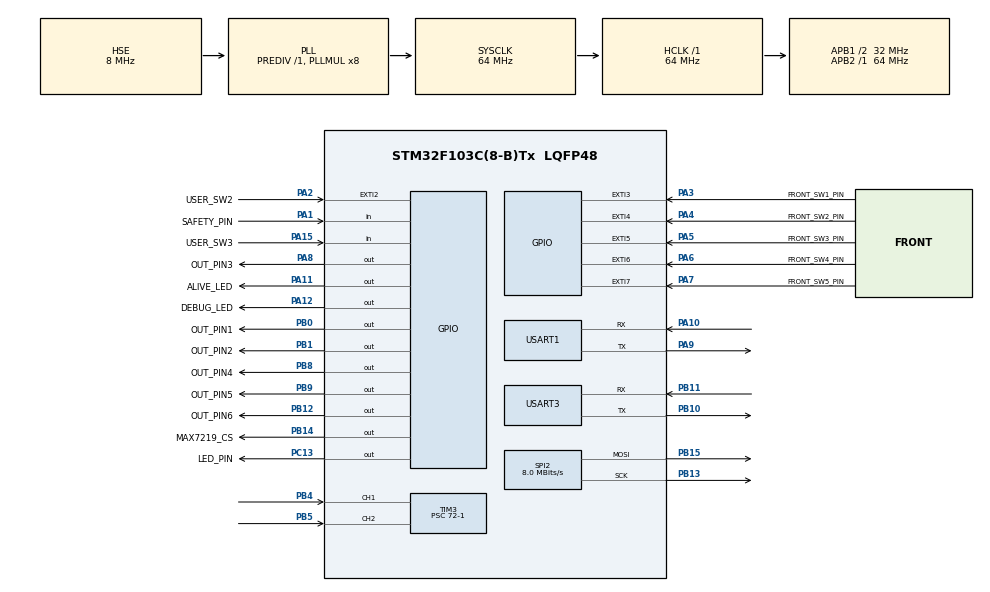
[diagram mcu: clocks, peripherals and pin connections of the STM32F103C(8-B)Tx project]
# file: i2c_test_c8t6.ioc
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IWDG.Prescaler=IWDG_PRESCALER_16
IWDG.Reload=3999
Mcu.Family=STM32F1
Mcu.Name=STM32F103C(8-B)Tx
Mcu.Package=LQFP48
NVIC.EXTI2_IRQn=true\:5\:0\:true\:false\:true\:true\:true
NVIC.EXTI3_IRQn=true\:5\:0\:true\:false\:true\:true\:true
NVIC.EXTI4_IRQn=true\:5\:0\:true\:false\:true\:true\:true
NVIC.EXTI9_5_IRQn=true\:5\:0\:true\:false\:true\:true\:true
NVIC.PriorityGroup=NVIC_PRIORITYGROUP_4
NVIC.TIM1_UP_IRQn=true\:3\:0\:true\:false\:true\:true\:true
NVIC.TIM2_IRQn=true\:4\:0\:true\:false\:true\:true\:true
NVIC.TIM3_IRQn=true\:1\:0\:true\:false\:true\:true\:true
NVIC.TIM4_IRQn=true\:3\:0\:true\:false\:true\:true\:true
PA1.GPIO_Label=SAFETY_PIN
PA1.Signal=GPIO_Input
PA10.Mode=Asynchronous
PA10.Signal=USART1_RX
PA11.GPIO_Label=ALIVE_LED
PA11.Signal=GPIO_Output
PA12.GPIO_Label=DEBUG_LED
PA12.Signal=GPIO_Output
PA13.Mode=Serial_Wire
PA13.Signal=SYS_JTMS-SWDIO
PA14.Mode=Serial_Wire
PA14.Signal=SYS_JTCK-SWCLK
PA15.GPIO_Label=USER_SW3
PA15.GPIO_PuPd=GPIO_PULLDOWN
PA15.Signal=GPIO_Input
PA2.GPIO_Label=USER_SW2
PA2.GPIO_PuPd=GPIO_PULLDOWN
PA2.Signal=GPXTI2
PA3.GPIO_Label=FRONT_SW1_PIN
PA3.GPIO_PuPd=GPIO_PULLDOWN
PA3.Signal=GPXTI3
PA4.GPIO_Label=FRONT_SW2_PIN
PA4.GPIO_PuPd=GPIO_PULLDOWN
PA4.Signal=GPXTI4
PA5.GPIO_Label=FRONT_SW3_PIN
PA5.GPIO_PuPd=GPIO_PULLDOWN
PA5.Signal=GPXTI5
PA6.GPIO_Label=FRONT_SW4_PIN
PA6.GPIO_PuPd=GPIO_PULLDOWN
PA6.Signal=GPXTI6
PA7.GPIO_Label=FRONT_SW5_PIN
PA7.GPIO_PuPd=GPIO_PULLDOWN
PA7.Signal=GPXTI7
PA8.GPIO_Label=OUT_PIN3
PA8.GPIO_PuPd=GPIO_PULLDOWN
PA8.Signal=GPIO_Output
PA9.Mode=Asynchronous
PA9.Signal=USART1_TX
PB0.GPIO_Label=OUT_PIN1
PB0.GPIO_PuPd=GPIO_PULLDOWN
PB0.Signal=GPIO_Output
PB1.GPIO_Label=OUT_PIN2
PB1.GPIO_PuPd=GPIO_PULLDOWN
PB1.Signal=GPIO_Output
PB10.Mode=Asynchronous
PB10.Signal=USART3_TX
PB11.Mode=Asynchronous
PB11.Signal=USART3_RX
PB12.GPIO_Label=OUT_PIN6
PB12.GPIO_PuPd=GPIO_PULLDOWN
PB12.Signal=GPIO_Output
PB13.Mode=TX_Only_Simplex_Unidirect_Master
PB13.Signal=SPI2_SCK
PB14.GPIO_Label=MAX7219_CS
PB14.GPIO_PuPd=GPIO_PULLDOWN
PB14.GPIO_Speed=GPIO_SPEED_FREQ_HIGH
PB14.Signal=GPIO_Output
PB15.Mode=TX_Only_Simplex_Unidirect_Master
PB15.Signal=SPI2_MOSI
PB4.GPIO_PuPd=GPIO_PULLDOWN
PB4.Signal=S_TIM3_CH1
PB5.GPIO_PuPd=GPIO_PULLDOWN
PB5.Signal=S_TIM3_CH2
PB8.GPIO_Label=OUT_PIN4
PB8.GPIO_PuPd=GPIO_PULLDOWN
PB8.Signal=GPIO_Output
PB9.GPIO_Label=OUT_PIN5
PB9.GPIO_PuPd=GPIO_PULLDOWN
PB9.Signal=GPIO_Output
PC13-TAMPER-RTC.GPIO_Label=LED_PIN
PC13-TAMPER-RTC.GPIO_Speed=GPIO_SPEED_FREQ_MEDIUM
PC13-TAMPER-RTC.Signal=GPIO_Output
PC14-OSC32_IN.Mode=LSE-External-Oscillator
PC14-OSC32_IN.Signal=RCC_OSC32_IN
PC15-OSC32_OUT.Mode=LSE-External-Oscillator
PC15-OSC32_OUT.Signal=RCC_OSC32_OUT
PD0-OSC_IN.Mode=HSE-External-Oscillator
PD0-OSC_IN.Signal=RCC_OSC_IN
PD1-OSC_OUT.Mode=HSE-External-Oscillator
PD1-OSC_OUT.Signal=RCC_OSC_OUT
ProjectManager.HeapSize=0x200
ProjectManager.StackSize=0x400
ProjectManager.TargetToolchain=STM32CubeIDE
RCC.AHBFreq_Value=64000000
RCC.APB1CLKDivider=RCC_HCLK_DIV2
RCC.APB1Freq_Value=32000000
RCC.APB1TimFreq_Value=64000000
RCC.APB2Freq_Value=64000000
RCC.APB2TimFreq_Value=64000000
RCC.HCLKFreq_Value=64000000
RCC.PLLMUL=RCC_PLL_MUL8
RCC.PLLSourceVirtual=RCC_PLLSOURCE_HSE
RCC.SYSCLKFreq_VALUE=64000000
RCC.SYSCLKSource=RCC_SYSCLKSOURCE_PLLCLK
RCC.USBFreq_Value=64000000
RTC.OutPut=RTC_OUTPUTSOURCE_ALARM
SH.S_TIM3_CH1.0=TIM3_CH1,Input_Capture1_from_TI1
SH.S_TIM3_CH2.0=TIM3_CH2,Input_Capture2_from_TI2
SPI2.BaudRatePrescaler=SPI_BAUDRATEPRESCALER_4
SPI2.CalculateBaudRate=8.0 MBits/s
SPI2.Direction=SPI_DIRECTION_2LINES
SPI2.Mode=SPI_MODE_MASTER
SPI2.VirtualType=VM_MASTER
TIM1.AutoReloadPreload=TIM_AUTORELOAD_PRELOAD_DISABLE
TIM1.Period=63999
TIM1.Prescaler=699
TIM2.AutoReloadPreload=TIM_AUTORELOAD_PRELOAD_DISABLE
TIM2.Period=63999
TIM2.Prescaler=99
TIM3.AutoReloadPreload=TIM_AUTORELOAD_PRELOAD_DISABLE
TIM3.Channel-Input_Capture1_from_TI1=TIM_CHANNEL_1
TIM3.Channel-Input_Capture2_from_TI2=TIM_CHANNEL_2
TIM3.ICFilter_CH1=5
TIM3.ICFilter_CH2=5
TIM3.Period=0xffff-1
TIM3.Prescaler=72-1
TIM4.Period=63999
TIM4.Prescaler=1499
USART1.VirtualMode=VM_ASYNC
USART3.VirtualMode=VM_ASYNC
VP_IWDG_VS_IWDG.Mode=IWDG_Activate
VP_RTC_VS_RTC_Activate.Mode=RTC_Enabled
VP_RTC_VS_RTC_Calendar.Mode=RTC_Calendar
VP_TIM1_VS_ClockSourceINT.Mode=Internal
VP_TIM2_VS_ClockSourceINT.Mode=Internal
VP_TIM3_VS_ClockSourceINT.Mode=Internal
VP_TIM4_VS_ClockSourceINT.Mode=Internal
board=custom

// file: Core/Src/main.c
/* USER CODE BEGIN Header */
/**
 ******************************************************************************
 * @file           : main.c
 * @brief          : Main program body
 ******************************************************************************
 * @attention
 *
 * <h2><center>&copy; Copyright (c) 2020 STMicroelectronics.
 * All rights reserved.</center></h2>
 *
 * This software component is licensed by ST under BSD 3-Clause license,
 * the "License"; You may not use this file except in compliance with the
 * License. You may obtain a copy of the License at:
 *                        opensource.org/licenses/BSD-3-Clause
 *
 ******************************************************************************
 */
/* USER CODE END Header */
#include "main.h"
#include "iwdg.h"
#include "rtc.h"
#include "spi.h"
#include "tim.h"
#include "usart.h"
#include "gpio.h"

/* USER CODE BEGIN Includes */
#include <stdio.h>
#include <string.h>
#include <stdbool.h>
#include <math.h>
#include <max7219.h>
/* USER CODE END Includes */

/* USER CODE BEGIN PD */
#define EEPROM_ADDR 0xA0
#define DEBUG false
/* USER CODE END PD */

void SystemClock_Config(void);
/* USER CODE BEGIN PFP */
void read_settings_from_eeprom(void);
void logic_runner(void);
void stop_and_clear_tim1(void);
void serial_display_credit(void);
void set_add_duration_of_function(uint8_t _selected_menu);
void set_substract_duration_of_function(uint8_t _selected_menu);
void segment_display_off(void);
void enable_all_exti_it(void);
void disable_all_exti_it(void);
void iot_send_inserted_credit(uint16_t inst_credit);
void iot_send_mode(uint8_t mode);
void iot_send_status(void);
bool isButtonBusy(void);
uint8_t decodeSwithPin(uint16_t GPIO_Pin);
/* USER CODE END PFP */

/* USER CODE BEGIN 0 */
uint32_t DEV_ID=0;
uint32_t REV_ID=0;
volatile uint32_t IC_Val1 = 0;
volatile uint32_t IC_Val2 = 0;
volatile uint32_t Difference = 0;
volatile uint8_t Is_First_Captured = 0;  // is the first value captured ?
uint8_t default_credit_duration = 10;
volatile uint32_t coin_IC_Val1 = 0;
volatile uint32_t coin_IC_Val2 = 0;
volatile uint32_t coin_Difference = 0;
volatile uint8_t coin_Is_First_Captured = 0;  // is the first value captured ?
volatile uint8_t selected_menu = 0;

volatile uint32_t last_event_credit = 0;
volatile int credit = 0;
volatile uint8_t selected_button = 0;
volatile int logic_runner_round_counter = 0;
volatile int minimum_credit_to_start = 10;
volatile int duration_per_1credit = 5;
volatile bool front_btn_enable = false;
volatile bool system_function_start = false;
volatile bool displayEnable = true;
volatile bool displayToggle = true;
/// coin and bank note global

volatile uint8_t bank_acceptor_pulse_width = 33;
volatile uint8_t coin_acceptor_pulse_width = 40;
uint8_t creditPulseOffset = 15;

volatile uint8_t bank_credit_per_pulse = 10;
volatile uint8_t coin_credit_per_pulse = 1;
/// coin and bank note global var

/* duration settings */
volatile uint8_t F1_DURATION = 10;
volatile uint8_t F2_DURATION = 10;
volatile uint8_t F3_DURATION = 10;
volatile uint8_t F4_DURATION = 10;
volatile uint8_t F5_DURATION = 10;

volatile int8_t current_setting_value = 0;
volatile uint8_t selected_setting = 0;
volatile uint16_t TIM1_COUNTER = 0;
volatile uint32_t burst_bank_credit = 0;
volatile uint32_t burst_coin_credit = 0;
volatile uint32_t burst_counter = 0;
volatile uint32_t burst_counter_2 = 0;
volatile bool start_debounce_counter = false;
volatile bool start_debounce_counter2 = false;
volatile uint32_t lastTimePress = 0;
volatile uint32_t lastCoinTick = 0;
char dev_id_buffer[30];
uint16_t last_credit_insert = 0;
uint16_t last_credit_insert_bank = 0;
char newline[] = "\r\n";
volatile char buffer[10];

volatile uint8_t data_to_write = 14;
volatile char data_to_read[20];

volatile uint8_t data_read = 0;
volatile uint8_t standby_counter = 0;
volatile bool clearButton = false;
volatile uint8_t clearButtonCounter = 0;
volatile uint8_t tim2_round_counter = 0;
volatile uint8_t iot_round_counter = 0;
bool ignoreButtonBusy = false;
/* USER CODE END 0 */

int main(void)
{

	/* MCU Configuration--------------------------------------------------------*/

	/* Reset of all peripherals, Initializes the Flash interface and the Systick. */
	HAL_Init();

	/* Configure the system clock */
	SystemClock_Config();

	/* Initialize all configured peripherals */
	MX_GPIO_Init();
	MX_USART1_UART_Init();
	MX_TIM1_Init();
	MX_TIM2_Init();
	MX_TIM3_Init();
	MX_TIM4_Init();
	MX_SPI2_Init();
	MX_RTC_Init();
	MX_USART3_UART_Init();
	MX_IWDG_Init();
	/* USER CODE BEGIN 2 */
	HAL_Delay(100);
	read_settings_from_eeprom();
	HAL_Delay(100);
	HAL_TIM_Base_Stop_IT(&htim2);
	HAL_TIM_Base_Stop_IT(&htim4);
	HAL_TIM_Base_Stop_IT(&htim1);
	max7219_DisableDisplayTest();
	HAL_Delay(200);
	max7219_Init ( 5 );
	max7219_Decode_On ();
	HAL_TIM_IC_Start_IT(&htim3, TIM_CHANNEL_1);
	HAL_TIM_IC_Start_IT(&htim3, TIM_CHANNEL_2);
	HAL_TIM_Base_Start_IT(&htim2);
	__HAL_TIM_CLEAR_IT(&htim1, TIM_IT_UPDATE);
	__HAL_TIM_SET_COUNTER(&htim1, 0);
	DEV_ID =  HAL_GetDEVID();
	REV_ID = HAL_GetREVID();

	sprintf(dev_id_buffer, "$DVID%d-%d&\r\n",(int)DEV_ID,(int)REV_ID);
	HAL_UART_Transmit(&huart1, (uint8_t *)dev_id_buffer, strlen(dev_id_buffer), HAL_MAX_DELAY);
	if(HAL_GPIO_ReadPin(GPIOA, SAFETY_PIN_Pin) == 1){
		ignoreButtonBusy = true;
	}else{
		ignoreButtonBusy = false;
	}

	/* USER CODE END 2 */

	/* Infinite loop */
	while (1)
	{

		/* USER CODE BEGIN 3 */
		HAL_IWDG_Refresh(&hiwdg);
		HAL_Delay(1000);
		if(HAL_GPIO_ReadPin(GPIOA, GPIO_PIN_15)){
			credit = 0;
			system_function_start = false;
		}
		HAL_GPIO_TogglePin(GPIOA, ALIVE_LED_Pin);
	}
	/* USER CODE END 3 */
}

void SystemClock_Config(void)
{
	RCC_OscInitTypeDef RCC_OscInitStruct = {0};
	RCC_ClkInitTypeDef RCC_ClkInitStruct = {0};
	RCC_PeriphCLKInitTypeDef PeriphClkInit = {0};

	/** Initializes the RCC Oscillators according to the specified parameters
	 * in the RCC_OscInitTypeDef structure.
	 */
	RCC_OscInitStruct.OscillatorType = RCC_OSCILLATORTYPE_LSI|RCC_OSCILLATORTYPE_HSE;
	RCC_OscInitStruct.HSEState = RCC_HSE_ON;
	RCC_OscInitStruct.HSEPredivValue = RCC_HSE_PREDIV_DIV1;
	RCC_OscInitStruct.HSIState = RCC_HSI_ON;
	RCC_OscInitStruct.LSIState = RCC_LSI_ON;
	RCC_OscInitStruct.PLL.PLLState = RCC_PLL_ON;
	RCC_OscInitStruct.PLL.PLLSource = RCC_PLLSOURCE_HSE;
	RCC_OscInitStruct.PLL.PLLMUL = RCC_PLL_MUL8;
	if (HAL_RCC_OscConfig(&RCC_OscInitStruct) != HAL_OK)
	{
		Error_Handler();
	}
	/** Initializes the CPU, AHB and APB buses clocks
	 */
	RCC_ClkInitStruct.ClockType = RCC_CLOCKTYPE_HCLK|RCC_CLOCKTYPE_SYSCLK
			|RCC_CLOCKTYPE_PCLK1|RCC_CLOCKTYPE_PCLK2;
	RCC_ClkInitStruct.SYSCLKSource = RCC_SYSCLKSOURCE_PLLCLK;
	RCC_ClkInitStruct.AHBCLKDivider = RCC_SYSCLK_DIV1;
	RCC_ClkInitStruct.APB1CLKDivider = RCC_HCLK_DIV2;
	RCC_ClkInitStruct.APB2CLKDivider = RCC_HCLK_DIV1;

	if (HAL_RCC_ClockConfig(&RCC_ClkInitStruct, FLASH_LATENCY_2) != HAL_OK)
	{
		Error_Handler();
	}
	PeriphClkInit.PeriphClockSelection = RCC_PERIPHCLK_RTC;
	PeriphClkInit.RTCClockSelection = RCC_RTCCLKSOURCE_LSI;
	if (HAL_RCCEx_PeriphCLKConfig(&PeriphClkInit) != HAL_OK)
	{
		Error_Handler();
	}
}

/* USER CODE BEGIN 4 */
void read_settings_from_eeprom(void){
	F1_DURATION = HAL_RTCEx_BKUPRead(&hrtc, RTC_BKP_DR1);
	F2_DURATION = HAL_RTCEx_BKUPRead(&hrtc, RTC_BKP_DR2);
	F3_DURATION = HAL_RTCEx_BKUPRead(&hrtc, RTC_BKP_DR3);
	F4_DURATION = HAL_RTCEx_BKUPRead(&hrtc, RTC_BKP_DR4);
	F5_DURATION = HAL_RTCEx_BKUPRead(&hrtc, RTC_BKP_DR5);
	credit = HAL_RTCEx_BKUPRead(&hrtc, RTC_BKP_DR6);
	if(credit >= 2){
		system_function_start = true;
	}else{
		system_function_start = false;
		credit = 0;
	}
	char tmp_msg[35];
	sprintf(tmp_msg,"eeprom read DURATION 1 is %d \r\n",F1_DURATION);
	HAL_UART_Transmit(&huart1, (uint8_t *)tmp_msg, strlen(tmp_msg), HAL_MAX_DELAY);
	sprintf(tmp_msg,"eeprom read DURATION 2 is %d \r\n",F2_DURATION);
	HAL_UART_Transmit(&huart1, (uint8_t *)tmp_msg, strlen(tmp_msg), HAL_MAX_DELAY);
	sprintf(tmp_msg,"eeprom read DURATION 3 is %d \r\n",F3_DURATION);
	HAL_UART_Transmit(&huart1, (uint8_t *)tmp_msg, strlen(tmp_msg), HAL_MAX_DELAY);
	sprintf(tmp_msg,"eeprom read DURATION 4 is %d \r\n",F4_DURATION);
	HAL_UART_Transmit(&huart1, (uint8_t *)tmp_msg, strlen(tmp_msg), HAL_MAX_DELAY);
	sprintf(tmp_msg,"eeprom read DURATION 5 is %d \r\n",F5_DURATION);
	HAL_UART_Transmit(&huart1, (uint8_t *)tmp_msg, strlen(tmp_msg), HAL_MAX_DELAY);
	sprintf(tmp_msg,"eeprom read CREDIT is %d \r\n",(int)credit);
	HAL_UART_Transmit(&huart1, (uint8_t *)tmp_msg, strlen(tmp_msg), HAL_MAX_DELAY);

	if(F1_DURATION == 0 || F2_DURATION == 0 || F3_DURATION == 0 || F4_DURATION == 0 || F5_DURATION == 0){
		HAL_RTCEx_BKUPWrite(&hrtc, RTC_BKP_DR1, default_credit_duration);
		HAL_RTCEx_BKUPWrite(&hrtc, RTC_BKP_DR2, default_credit_duration);
		HAL_RTCEx_BKUPWrite(&hrtc, RTC_BKP_DR3, default_credit_duration);
		HAL_RTCEx_BKUPWrite(&hrtc, RTC_BKP_DR4, default_credit_duration);
		HAL_RTCEx_BKUPWrite(&hrtc, RTC_BKP_DR5, default_credit_duration);
		F1_DURATION = default_credit_duration;
		F2_DURATION = default_credit_duration;
		F3_DURATION = default_credit_duration;
		F4_DURATION = default_credit_duration;
		F5_DURATION = default_credit_duration;
	}
	HAL_Delay(300);
}
void reset_all_output(void){
	HAL_GPIO_WritePin(GPIOB, GPIO_PIN_0, GPIO_PIN_RESET); // pin b0 --> out 1
	HAL_GPIO_WritePin(GPIOB, GPIO_PIN_1, GPIO_PIN_RESET); // pin b1 --> out 2
	HAL_GPIO_WritePin(GPIOA, GPIO_PIN_8, GPIO_PIN_RESET); // pin a8 --> out 3
	HAL_GPIO_WritePin(GPIOB, GPIO_PIN_8, GPIO_PIN_RESET); // pin b8 --> out 4
	HAL_GPIO_WritePin(GPIOB, GPIO_PIN_9, GPIO_PIN_RESET); // pin b9 --> out 5
	HAL_GPIO_WritePin(GPIOB, GPIO_PIN_12, GPIO_PIN_RESET); // pin b12 --> out 6
}
void set_output_to(uint8_t pin){
	switch(pin){
	case 3:
		HAL_GPIO_WritePin(GPIOB, GPIO_PIN_0, GPIO_PIN_SET); // pin b0 --> out 1
		break;
	case 4:
		HAL_GPIO_WritePin(GPIOB, GPIO_PIN_1, GPIO_PIN_SET); // pin b1 --> out 2
		break;
	case 5:
		HAL_GPIO_WritePin(GPIOA, GPIO_PIN_8, GPIO_PIN_SET); // pin a8 --> out 3
		break;
	case 6:
		HAL_GPIO_WritePin(GPIOB, GPIO_PIN_8, GPIO_PIN_SET); // pin b8 --> out 4
		break;
	case 7:
		HAL_GPIO_WritePin(GPIOB, GPIO_PIN_9, GPIO_PIN_SET); // pin b9 --> out 5
		break;
	default:
		reset_all_output();
		max7219_Turn_On();
		break;
	}

}

void segment_display_int(int number){
	max7219_Turn_Off();
	max7219_Init(5);
	max7219_Clean ();
	max7219_Decode_On();
	max7219_Clean ();
	if(number < 10){
		max7219_PrintItos (DIGIT_1, number );
	}else if(number >= 10 && number < 100){
		max7219_PrintItos (DIGIT_2, number );
	}else{
		max7219_PrintItos (DIGIT_3, number );
	}
}
void segment_display_function_settings(int func_number,int value){
	max7219_Decode_On();
	max7219_Clean ();
	if(value < 10){
		max7219_PrintItos (DIGIT_1, value );
	}else if(value >= 10 && value < 100){
		max7219_PrintItos (DIGIT_2, value );
	}
	max7219_PrintDigit(DIGIT_3,func_number,true);
}
void segment_display_standby(){
	max7219_Clean ();
	max7219_Decode_On();
	max7219_Clean ();
	if(displayEnable == true){
		switch(standby_counter){
		case 0:
			max7219_PrintDigit(DIGIT_1,MINUS,false);
			max7219_PrintDigit(DIGIT_2,BLANK,false);
			max7219_PrintDigit(DIGIT_3,BLANK,false);
			break;
		case 1:
			max7219_PrintDigit(DIGIT_1,BLANK,false);
			max7219_PrintDigit(DIGIT_2,MINUS,false);
			max7219_PrintDigit(DIGIT_3,BLANK,false);
			break;
		case 2:
			max7219_PrintDigit(DIGIT_1,BLANK,false);
			max7219_PrintDigit(DIGIT_2,BLANK,false);
			max7219_PrintDigit(DIGIT_3,MINUS,false);
			break;
		case 3:
			max7219_PrintDigit(DIGIT_1,BLANK,false);
			max7219_PrintDigit(DIGIT_2,MINUS,false);
			max7219_PrintDigit(DIGIT_3,BLANK,false);
			break;
		case 4:
			max7219_PrintDigit(DIGIT_1,MINUS,false);
			max7219_PrintDigit(DIGIT_2,BLANK,false);
			max7219_PrintDigit(DIGIT_3,BLANK,false);
			break;
		case 5:
			max7219_PrintDigit(DIGIT_1,MINUS,false);
			max7219_PrintDigit(DIGIT_2,MINUS,false);
			max7219_PrintDigit(DIGIT_3,MINUS,false);
			break;
		case 6:
			max7219_PrintDigit(DIGIT_1,MINUS,false);
			max7219_PrintDigit(DIGIT_2,MINUS,false);
			max7219_PrintDigit(DIGIT_3,MINUS,false);
			break;
		default:
			max7219_PrintDigit(DIGIT_1,MINUS,false);
			max7219_PrintDigit(DIGIT_2,MINUS,false);
			max7219_PrintDigit(DIGIT_3,MINUS,false);
			break;
		}
		if(standby_counter >= 6){
			standby_counter = 0;
		}else{
			standby_counter += 1;
		}
		//		max7219_PrintDigit(DIGIT_1,MINUS,false);
		//		max7219_PrintDigit(DIGIT_2,MINUS,false);
		//		max7219_PrintDigit(DIGIT_3,MINUS,false);
		displayEnable = false;
	}else{
		max7219_PrintDigit(DIGIT_1,BLANK,false);
		max7219_PrintDigit(DIGIT_2,BLANK,false);
		max7219_PrintDigit(DIGIT_3,BLANK,false);
		displayEnable = true;
	}

}
void segment_display_off(){
	max7219_Clean ();
	max7219_Decode_On();
	max7219_Clean ();
	max7219_PrintDigit(DIGIT_1,BLANK,false);
	max7219_PrintDigit(DIGIT_2,BLANK,false);
	max7219_PrintDigit(DIGIT_3,BLANK,false);
}

void iot_send_inserted_credit(uint16_t inst_credit){
	char cmd_buffer[35];
	sprintf(cmd_buffer,"%cINST_%d_%d%c\r\n",0x02,(unsigned int)credit,(unsigned int)inst_credit,0x03);
	if(DEBUG){
		HAL_UART_Transmit(&huart1, (uint8_t *)cmd_buffer, strlen(cmd_buffer), HAL_MAX_DELAY);
	}else{
		HAL_UART_Transmit(&huart1, (uint8_t *)cmd_buffer, strlen(cmd_buffer), HAL_MAX_DELAY);
		HAL_UART_Transmit(&huart3, (uint8_t *)cmd_buffer, strlen(cmd_buffer), HAL_MAX_DELAY);
	}
}
void iot_send_mode(uint8_t mode){
	char cmd_buffer[35];
	sprintf(cmd_buffer,"%cMODE_%d_%d%c\r\n",0x02,(unsigned int)credit,(unsigned int)mode,0x03);
	if(DEBUG){
		HAL_UART_Transmit(&huart1, (uint8_t *)cmd_buffer, strlen(cmd_buffer), HAL_MAX_DELAY);
	}else{
		HAL_UART_Transmit(&huart1, (uint8_t *)cmd_buffer, strlen(cmd_buffer), HAL_MAX_DELAY);
		HAL_UART_Transmit(&huart3, (uint8_t *)cmd_buffer, strlen(cmd_buffer), HAL_MAX_DELAY);
	}
}
void iot_send_status(){
	char cmd_buffer[35];
	sprintf(cmd_buffer,"%cSTAT_%d%c\r\n",0x02,(unsigned int)credit,0x03);
	if(DEBUG){
		HAL_UART_Transmit(&huart1, (uint8_t *)cmd_buffer, strlen(cmd_buffer), HAL_MAX_DELAY);
	}else{
		HAL_UART_Transmit(&huart1, (uint8_t *)cmd_buffer, strlen(cmd_buffer), HAL_MAX_DELAY);
		HAL_UART_Transmit(&huart3, (uint8_t *)cmd_buffer, strlen(cmd_buffer), HAL_MAX_DELAY);
	}
}
void HAL_TIM_PeriodElapsedCallback(TIM_HandleTypeDef *htim) {
	if (htim->Instance == TIM4) { /// tick every 1s
		max7219_Turn_On();
		//		HAL_ADC_Start_DMA(&hadc1, (uint32_t*) adcBuffer, 2);
		//		char tmp[25];
		//		uint8_t mapped_value = calculate_adc(adcBuffer[0]);
		if(clearButton == true){
			if(HAL_GPIO_ReadPin(GPIOA, GPIO_PIN_7) == 1){
				HAL_UART_Transmit(&huart1, "---> CLEAR BTN >>PRESS<< !!!\r\n", 30, HAL_MAX_DELAY);
				selected_button = 0;
				reset_all_output();
				clearButtonCounter += 1;
			}else{
				clearButton = false;
				clearButtonCounter = 0;
				HAL_TIM_Base_Stop_IT(&htim4);
			}
			if(clearButtonCounter > 5){
				HAL_UART_Transmit(&huart1, "---> CLEAR CREDITS !!!\r\n", 24, HAL_MAX_DELAY);
				clearButton = false;
				clearButtonCounter = 0;
				credit = 0;
				system_function_start = false;
				selected_button = 0;
				reset_all_output();
				clearButtonCounter = 0;
				HAL_TIM_Base_Stop_IT(&htim4);
			}
		}
		if (selected_menu > 0) {
			HAL_TIM_Base_Stop_IT(&htim2); //stop main program
			switch (selected_menu) {
			case 1:
				//				max7219_PrintDigit(DIGIT_3,16,true);
				segment_display_function_settings(selected_menu,F1_DURATION);
				//				max7219_PrintDigit(DIGIT_2,NUM_1,false);
				//				memset(tmp, 0, sizeof tmp);
				//				sprintf(tmp, "F1 VALUE : %d \r\n", (unsigned int) mapped_value);
				//				HAL_UART_Transmit(&huart1, tmp, strlen(tmp), HAL_MAX_DELAY);
				//				F1_DURATION = mapped_value;
				break;
			case 2:
				segment_display_function_settings(selected_menu,F2_DURATION);
				break;
			case 3:
				max7219_PrintDigit(DIGIT_3,18,true);
				segment_display_function_settings(selected_menu,F3_DURATION);
				break;
			case 4:
				max7219_PrintDigit(DIGIT_3,19,true);
				segment_display_function_settings(selected_menu,F4_DURATION);
				break;
			case 5:
				segment_display_function_settings(selected_menu,F5_DURATION);
				break;
			}
		} else {
			max7219_Decode_On();
			HAL_TIM_Base_Start_IT(&htim2);
			if(clearButton == false){
				HAL_TIM_Base_Stop_IT(&htim4);
			}
		}
	}
	if (htim->Instance == TIM2) { /// tick every 1ms
		//		HAL_UART_Transmit(&huart1, (uint8_t*)"TIM2 TICK!!\r\n", 13, HAL_MAX_DELAY);
		char credit_tmp_msg[55];
		if(last_credit_insert > 0){
			sprintf(credit_tmp_msg,"last credit inserted: %d \r\n",(unsigned int)last_credit_insert);
			iot_send_inserted_credit(last_credit_insert);
			HAL_UART_Transmit(&huart1,(uint8_t *)credit_tmp_msg, strlen(credit_tmp_msg), HAL_MAX_DELAY);
			last_credit_insert = 0;
		}
		if(last_credit_insert_bank > 0){
			sprintf(credit_tmp_msg,"last bank credit inserted: %d \r\n",(unsigned int)last_credit_insert_bank);
			iot_send_inserted_credit(last_credit_insert_bank);
			HAL_UART_Transmit(&huart1,(uint8_t *)credit_tmp_msg, strlen(credit_tmp_msg), HAL_MAX_DELAY);
			last_credit_insert_bank = 0;
		}
		if(tim2_round_counter >= 10){
			HAL_UART_Transmit(&huart1, (uint8_t*)"TIM2 TICK!!\r\n", 13, HAL_MAX_DELAY);
			logic_runner();
			tim2_round_counter = 0;
			if(iot_round_counter > 30){
				iot_send_status();
				iot_round_counter = 0;
			}else{
				iot_round_counter += 1;
			}
		}else{
			if((tim2_round_counter%3) == 0){
				if (selected_button != 0) {
					if(displayToggle){
						max7219_Turn_On();
						displayToggle = false;
					}else{
						max7219_Turn_Off();
						displayToggle = true;
					}
				}else{
					max7219_Turn_On();
				}
			}
			if(credit <= 0){
				if((tim2_round_counter&2) == 0){
					segment_display_standby();
				}
			}

			tim2_round_counter += 1;

		}
	}
	if (htim->Instance == TIM1) { /// tick every 1000ms
		stop_and_clear_tim1();
		//		enable_all_exti_it();
		HAL_UART_Transmit(&huart1, (uint8_t*)"TIM SW DEBOUNCE TICK!\r\n", 23, HAL_MAX_DELAY);
		char tmp[25];
		sprintf(tmp, "selected mode %d \r\n", (unsigned int) selected_button);
		reset_all_output();
		set_output_to(selected_button);
		iot_send_mode(selected_button);
		HAL_UART_Transmit(&huart1, (uint8_t*)tmp, strlen(tmp), HAL_MAX_DELAY);
		if(selected_menu <= 0){
			HAL_TIM_Base_Start_IT(&htim2);
		}

	}
}
void disable_all_exti_it(){
	HAL_NVIC_DisableIRQ(EXTI2_IRQn);
	HAL_NVIC_DisableIRQ(EXTI3_IRQn);
	HAL_NVIC_DisableIRQ(EXTI4_IRQn);
	HAL_NVIC_DisableIRQ(EXTI9_5_IRQn);
}
void enable_all_exti_it(){
	HAL_NVIC_ClearPendingIRQ(EXTI2_IRQn);
	HAL_NVIC_ClearPendingIRQ(EXTI3_IRQn);
	HAL_NVIC_ClearPendingIRQ(EXTI4_IRQn);
	HAL_NVIC_ClearPendingIRQ(EXTI9_5_IRQn);
	HAL_NVIC_EnableIRQ(EXTI2_IRQn);
	HAL_NVIC_EnableIRQ(EXTI3_IRQn);
	HAL_NVIC_EnableIRQ(EXTI4_IRQn);
	HAL_NVIC_EnableIRQ(EXTI9_5_IRQn);
}
uint8_t decodeSwithPin(uint16_t GPIO_Pin){
	switch (GPIO_Pin) {
	case GPIO_PIN_3:
		return 3;
		break;
	case GPIO_PIN_4:
		return 4;
		break;
	case GPIO_PIN_5:
		return 5;
		break;
	case GPIO_PIN_6:
		return 6;
		break;
	case GPIO_PIN_7:
		return 7;
		break;
	default:
		return 0;
		break;
	}
}
void HAL_GPIO_EXTI_Callback(uint16_t GPIO_Pin) {
	disable_all_exti_it();
	char message_sw2[] = "Switch [2] pressed!\r\n";
	char message_sw3[] = "FRONT SW [1] pressed!\r\n";
	char message_sw4[] = "FRONT SW [2] pressed!\r\n";
	char message_sw5[] = "FRONT SW [3] pressed!\r\n";
	char message_sw6[] = "FRONT SW [4] pressed!\r\n";
	char message_sw7[] = "FRONT SW [5] pressed!\r\n";
	uint32_t tickstart = HAL_GetTick();
	char tick_msg[35];
	sprintf(tick_msg,"---- sysTick : %d\r\n",tickstart);
	if( (tickstart - lastTimePress)<=50){
		HAL_UART_Transmit(&huart1,"too many times press !!!!\r\n", 27,HAL_MAX_DELAY);
		enable_all_exti_it();
		return;
	}else{
		lastTimePress = tickstart;
	}
	max7219_DisableDisplayTest();
	HAL_UART_Transmit(&huart1, (uint8_t*)tick_msg, strlen(tick_msg),
			HAL_MAX_DELAY);
	if (GPIO_Pin == GPIO_PIN_2 && HAL_GPIO_ReadPin(GPIOA, GPIO_PIN_2) == 1) {
		enable_all_exti_it();
		HAL_TIM_Base_Stop_IT(&htim2);
		HAL_UART_Transmit(&huart1, (uint8_t*)message_sw2, strlen(message_sw2),
				HAL_MAX_DELAY);
		selected_menu += 1;
		HAL_TIM_Base_Start_IT(&htim4);
		if (selected_menu > 5) {
			selected_menu = 0;
			HAL_TIM_Base_Stop_IT(&htim4);
			HAL_TIM_Base_Start_IT(&htim2);
		}
	}
	if(selected_menu > 0){
		if (HAL_GPIO_ReadPin(GPIOA, GPIO_PIN_3) == 1) {
			set_add_duration_of_function(selected_menu);
		}
		else if (HAL_GPIO_ReadPin(GPIOA, GPIO_PIN_4) == 1) {
			set_substract_duration_of_function(selected_menu);
		}
	}
	else if (system_function_start) {
		if(isButtonBusy()){
			if(decodeSwithPin(GPIO_Pin) != selected_button){
				enable_all_exti_it();
				return;
			}
		}

		HAL_TIM_Base_Stop_IT(&htim2);
		HAL_TIM_Base_Stop_IT(&htim1);
		__HAL_TIM_SET_COUNTER(&htim1, 0);
		__HAL_TIM_SET_COUNTER(&htim2, 0);
		displayToggle = true;
		max7219_Turn_On();
		switch (GPIO_Pin) {
		case GPIO_PIN_3:
			if (HAL_GPIO_ReadPin(GPIOA, GPIO_PIN_3) == 1) {
				HAL_UART_Transmit(&huart1, (uint8_t*)message_sw3, strlen(message_sw3),
						HAL_MAX_DELAY);
				if (selected_button == 3) {
					selected_button = 0;
					reset_all_output();
				} else {
					if(!isButtonBusy()){
						reset_all_output();
						selected_button = 3;
					}
				}
			}
			break;
		case GPIO_PIN_4:
			if (HAL_GPIO_ReadPin(GPIOA, GPIO_PIN_4) == 1) {
				HAL_UART_Transmit(&huart1, (uint8_t*)message_sw4, strlen(message_sw3),
						HAL_MAX_DELAY);
				if (selected_button == 4) {
					selected_button = 0;
					reset_all_output();
				} else {
					if(!isButtonBusy()){
						reset_all_output();
						selected_button = 4;
					}
				}
			}
			break;
		case GPIO_PIN_5:
			if (HAL_GPIO_ReadPin(GPIOA, GPIO_PIN_5) == 1) {
				HAL_UART_Transmit(&huart1, (uint8_t*)message_sw5, strlen(message_sw3),
						HAL_MAX_DELAY);
				if (selected_button == 5) {
					selected_button = 0;
					reset_all_output();
				} else {
					if(!isButtonBusy()){
						reset_all_output();
						selected_button = 5;
					}
				}
			}
			break;
		case GPIO_PIN_6:
			if (HAL_GPIO_ReadPin(GPIOA, GPIO_PIN_6) == 1) {
				HAL_UART_Transmit(&huart1, (uint8_t*)message_sw6, strlen(message_sw3),
						HAL_MAX_DELAY);
				if (selected_button == 6) {
					reset_all_output();
					selected_button = 0;
				} else {
					if(!isButtonBusy()){
						reset_all_output();
						selected_button = 6;
					}
				}
			}
			break;
		case GPIO_PIN_7:
			if (HAL_GPIO_ReadPin(GPIOA, GPIO_PIN_7) == 1) {
				HAL_UART_Transmit(&huart1, (uint8_t*)message_sw7, strlen(message_sw3),
						HAL_MAX_DELAY);
				if (selected_button == 7) {
					selected_button = 0;
					reset_all_output();
					clearButton = true;
					HAL_TIM_Base_Start_IT(&htim4);
				} else {
					if(!isButtonBusy()){
						reset_all_output();
						selected_button = 7;
					}
				}
			}
			break;
		}
	}
	//	uint32_t i = 100000;
	//	while (i-- > 0) {
	//		asm("nop");
	//	}
	enable_all_exti_it();
	HAL_TIM_Base_Start_IT(&htim1);
}
bool isButtonBusy(){
	if(ignoreButtonBusy == true){
		return false;
	}
	if(selected_button != 0){
		return true;
	}else{
		return false;
	}
}
void eeprom_write(uint8_t addr, uint8_t data){
	/*
	 * EEPROM ADDRESS TABLE
	 * ------------------------
	 *  address | description
	 * ------------------------
	 *   0x01   |  F1_DURATION
	 *   0x02   |  F2_DURATION
	 *   0x03   |  F3_DURATION
	 *   0x04   |  F4_DURATION
	 *   0x05   |  F5_DURATION
	 *
	 *	 0x06   |  credit
	 *
	 * */
	switch(addr){
	case 0x01:
		HAL_RTCEx_BKUPWrite(&hrtc, RTC_BKP_DR1, data);
		break;
	case 0x02:
		HAL_RTCEx_BKUPWrite(&hrtc, RTC_BKP_DR2, data);
		break;
	case 0x03:
		HAL_RTCEx_BKUPWrite(&hrtc, RTC_BKP_DR3, data);
		break;
	case 0x04:
		HAL_RTCEx_BKUPWrite(&hrtc, RTC_BKP_DR4, data);
		break;
	case 0x05:
		HAL_RTCEx_BKUPWrite(&hrtc, RTC_BKP_DR5, data);
		break;
	case 0x06:
		HAL_RTCEx_BKUPWrite(&hrtc, RTC_BKP_DR6, data);
		break;
	}

}
//uint8_t eeprom_read(uint8_t addr){
//	uint8_t recv_data;
//	HAL_I2C_Mem_Read(&hi2c1, EEPROM_ADDR, addr, 0xFF, &recv_data, 1, HAL_MAX_DELAY);
//}
void set_add_duration_of_function(uint8_t _selected_menu){
	if(_selected_menu > 0){
		switch (_selected_menu) {
		case 1:
			if(F1_DURATION < 99){
				F1_DURATION += 1;
				eeprom_write(0x01,F1_DURATION);
			}
			break;
		case 2:
			if(F2_DURATION < 99){
				F2_DURATION += 1;
				eeprom_write(0x02,F2_DURATION);
			}
			break;
		case 3:
			if(F3_DURATION < 99){
				F3_DURATION += 1;
				eeprom_write(0x03,F3_DURATION);
			}
			break;
		case 4:
			if(F4_DURATION < 99){
				F4_DURATION += 1;
				eeprom_write(0x04,F4_DURATION);
			}
			break;
		case 5:
			if(F5_DURATION < 99){
				F5_DURATION += 1;
				eeprom_write(0x05,F5_DURATION);
			}
			break;
		}
	}
}

void set_substract_duration_of_function(uint8_t _selected_menu){
	if(_selected_menu > 0){
		switch (_selected_menu) {
		case 1:
			if(F1_DURATION >0){
				F1_DURATION -= 1;
				eeprom_write(0x01,F1_DURATION);
			}
			break;
		case 2:
			if(F2_DURATION >0){
				F2_DURATION -= 1;
				eeprom_write(0x02,F2_DURATION);
			}
			break;
		case 3:
			if(F3_DURATION >0){
				F3_DURATION -= 1;
				eeprom_write(0x03,F3_DURATION);
			}
			break;
		case 4:
			if(F4_DURATION >0){
				F4_DURATION -= 1;
				eeprom_write(0x04,F4_DURATION);
			}
			break;
		case 5:
			if(F5_DURATION >0){
				F5_DURATION -= 1;
				eeprom_write(0x05,F5_DURATION);
			}
			break;
		}
	}
}
void add_coin_credit(uint32_t pulse_width) {
	max7219_DisableDisplayTest();
	if (pulse_width <= (coin_acceptor_pulse_width + creditPulseOffset)
			&& (pulse_width
					>= coin_acceptor_pulse_width - creditPulseOffset)) {
		char tmp_msg[40];
		sprintf(tmp_msg, "added credit : %d \r\n",
				(int)coin_credit_per_pulse);
		HAL_UART_Transmit(&huart1, (uint8_t*)tmp_msg, strlen(tmp_msg), HAL_MAX_DELAY);
		credit += coin_credit_per_pulse;
		//		eeprom_write(0x06,credit);
		if(credit >= 999){
			credit = 999;
		}
		max7219_Turn_On();
		segment_display_int(credit);

		if (credit >= minimum_credit_to_start) {
			system_function_start = true;
			HAL_UART_Transmit(&huart1, (uint8_t*)"front btn is now enable\r\n", 25,
					HAL_MAX_DELAY);
		}
	}else{
		char pulseWmessage[30];
		sprintf(pulseWmessage, "PULSEWIDTH NOT MATCH : %d \r\n", (int)pulse_width);
		HAL_UART_Transmit(&huart1, (uint8_t*)pulseWmessage, strlen(pulseWmessage), HAL_MAX_DELAY);
	}
}
void add_bank_note_credit(uint32_t pulse_width) {
	max7219_DisableDisplayTest();
	if (pulse_width <= bank_acceptor_pulse_width + creditPulseOffset
			&& pulse_width
			>= bank_acceptor_pulse_width - creditPulseOffset) {
		char tmp_msg[40];
		sprintf(tmp_msg, "added credit : %d \r\n",
				bank_credit_per_pulse);
		HAL_UART_Transmit(&huart1, (uint8_t*)tmp_msg, strlen(tmp_msg), HAL_MAX_DELAY);
		credit += bank_credit_per_pulse;
		//		eeprom_write(0x06,credit);
		if(credit >= 999){
			credit = 999;
		}
		max7219_Turn_On();
		segment_display_int(credit);
		if (credit >= minimum_credit_to_start) {
			system_function_start = true;
			HAL_UART_Transmit(&huart1, (uint8_t*)"front btn is now enable\r\n", 25,
					HAL_MAX_DELAY);
		}
		char tmp_msg2[35];
		sprintf(tmp_msg2, "current credit : %d \r\n", (int)credit);
		HAL_UART_Transmit(&huart1, (uint8_t*)tmp_msg2, strlen(tmp_msg2),
				HAL_MAX_DELAY);
	}else{
		char pulseWmessage[30];
		sprintf(pulseWmessage, "PULSEWIDTH NOT MATCH : %d \r\n", (int)pulse_width);
		HAL_UART_Transmit(&huart1, (uint8_t*)pulseWmessage, strlen(pulseWmessage), HAL_MAX_DELAY);
	}
}

void logic_runner() {
	eeprom_write(0x06,credit);
	max7219_DisableDisplayTest();
	if (selected_button != 0) {
		logic_runner_round_counter += 1;
	}
	switch(selected_button){
	case 3:
		duration_per_1credit = F1_DURATION;
		break;
	case 4:
		duration_per_1credit = F2_DURATION;
		break;
	case 5:
		duration_per_1credit = F3_DURATION;
		break;
	case 6:
		duration_per_1credit = F4_DURATION;
		break;
	case 7:
		duration_per_1credit = F5_DURATION;
		break;
	default:
		duration_per_1credit = 10;
		break;
	}
	if(duration_per_1credit != 0){
		if (logic_runner_round_counter >= duration_per_1credit && credit > 0) {
			logic_runner_round_counter = 0;
			HAL_UART_Transmit(&huart1, (uint8_t *)"took 1 credit\r\n", 15, HAL_MAX_DELAY);
			credit -= 1;
			serial_display_credit();
			segment_display_int(credit);
		}
	}

	if (credit <= 0) {
		//		segment_display_standby();
		reset_all_output();
		HAL_UART_Transmit(&huart1, (uint8_t *)"time up !, disable all functions\r\n", 34,
				HAL_MAX_DELAY);
		credit = 0;
		//		eeprom_write(0x06,0);
		system_function_start = false;
		selected_button = 0;
	}else{
		segment_display_int(credit);
	}
}

void serial_display_credit() {
	char buffer[35];
	sprintf(buffer, "current credit : %d \r\n", (int)credit);
	HAL_UART_Transmit(&huart1, (uint8_t*)buffer, strlen(buffer), HAL_MAX_DELAY);
}
void stop_and_clear_tim1() {
	__HAL_TIM_SET_COUNTER(&htim1, 0);
	HAL_TIM_Base_Stop_IT(&htim1);
	__HAL_TIM_CLEAR_IT(&htim1, TIM_IT_UPDATE);
}
void HAL_TIM_IC_CaptureCallback(TIM_HandleTypeDef *htim) {
	//	HAL_UART_Transmit(&huart2, message3, strlen(message3), HAL_MAX_DELAY);
	//	stop_and_clear_tim1();
	//	max7219_Turn_On();
	max7219_Turn_On();
	HAL_TIM_Base_Stop_IT(&htim2);
	__HAL_TIM_SET_COUNTER(&htim2, 0);
	__HAL_TIM_CLEAR_IT(&htim2, TIM_IT_UPDATE);

	HAL_TIM_Base_Stop_IT(&htim1);
	__HAL_TIM_SET_COUNTER(&htim1, 0);
	__HAL_TIM_CLEAR_IT(&htim1, TIM_IT_UPDATE);

	if (htim->Instance == TIM3 && htim->Channel == HAL_TIM_ACTIVE_CHANNEL_2) { // if the interrupt source is channel1
		HAL_UART_Transmit(&huart1, (uint8_t*)"CH2 INT\r\n", 9, HAL_MAX_DELAY);
		if (Is_First_Captured == 0) // if the first value is not captured
		{
			IC_Val1 = HAL_TIM_ReadCapturedValue(htim, TIM_CHANNEL_2); // read the first value
			Is_First_Captured = 1;  // set the first captured as true
			__HAL_TIM_SET_CAPTUREPOLARITY(htim, TIM_CHANNEL_2,
					TIM_INPUTCHANNELPOLARITY_FALLING);
		}

		else if (Is_First_Captured == 1)   // if the first is already captured
		{
			IC_Val2 = HAL_TIM_ReadCapturedValue(htim, TIM_CHANNEL_2); // read second value
			__HAL_TIM_SET_COUNTER(htim, 0);  // reset the counter
			if (IC_Val2 > IC_Val1) {
				Difference = IC_Val2 - IC_Val1;
			}

			else if (IC_Val1 > IC_Val2) {
				Difference = ((uint16_t) 0xffff - IC_Val1) + IC_Val2;
			}
			Is_First_Captured = 0; // set it back to false
			// set polarity to rising edge
			__HAL_TIM_SET_CAPTUREPOLARITY(htim, TIM_CHANNEL_2,
					TIM_INPUTCHANNELPOLARITY_RISING);

			add_bank_note_credit(Difference/1000);
			last_credit_insert_bank += bank_credit_per_pulse;
			char tmpp[35];
			sprintf(tmpp,"CH2:captured val : %d \r\n",(int)Difference);
			HAL_UART_Transmit(&huart1, (uint8_t*)tmpp, strlen(tmpp), HAL_MAX_DELAY);
		}
	}
	if (htim->Instance == TIM3
			&& htim->Channel == HAL_TIM_ACTIVE_CHANNEL_1) { // if the interrupt source is channel1
		HAL_UART_Transmit(&huart1, (uint8_t*)"CH1 INT\r\n", 9, HAL_MAX_DELAY);
		if (coin_Is_First_Captured == 0) // if the first value is not captured
		{
			coin_IC_Val1 = HAL_TIM_ReadCapturedValue(htim, TIM_CHANNEL_1); // read the first value
			coin_Is_First_Captured = 1;  // set the first captured as true

			__HAL_TIM_SET_CAPTUREPOLARITY(htim, TIM_CHANNEL_1,
					TIM_INPUTCHANNELPOLARITY_FALLING);
		}

		else if (coin_Is_First_Captured == 1) // if the first is already captured
		{
			coin_IC_Val2 = HAL_TIM_ReadCapturedValue(htim, TIM_CHANNEL_1); // read second value
			__HAL_TIM_SET_COUNTER(htim, 0);  // reset the counter
			if (coin_IC_Val2 > coin_IC_Val1) {
				coin_Difference = coin_IC_Val2 - coin_IC_Val1;
			}

			else if (coin_IC_Val1 > coin_IC_Val2) {
				coin_Difference = ((uint16_t) 0xffff - coin_IC_Val1) + coin_IC_Val2;
			}
			coin_Is_First_Captured = 0; // set it back to false
			__HAL_TIM_SET_CAPTUREPOLARITY(htim, TIM_CHANNEL_1,
					TIM_INPUTCHANNELPOLARITY_RISING);
			add_coin_credit(coin_Difference/1000);
			last_credit_insert += coin_credit_per_pulse;
			char tmpp[35];
			sprintf(tmpp,"CH1:captured val : %d \r\n",(int)coin_Difference);
			HAL_UART_Transmit(&huart1, (uint8_t*)tmpp, strlen(tmpp), HAL_MAX_DELAY);
		}
	}
	HAL_TIM_Base_Start_IT(&htim2);
}
/* USER CODE END 4 */

void Error_Handler(void)
{
}

/************************ (C) COPYRIGHT STMicroelectronics *****END OF FILE****/
